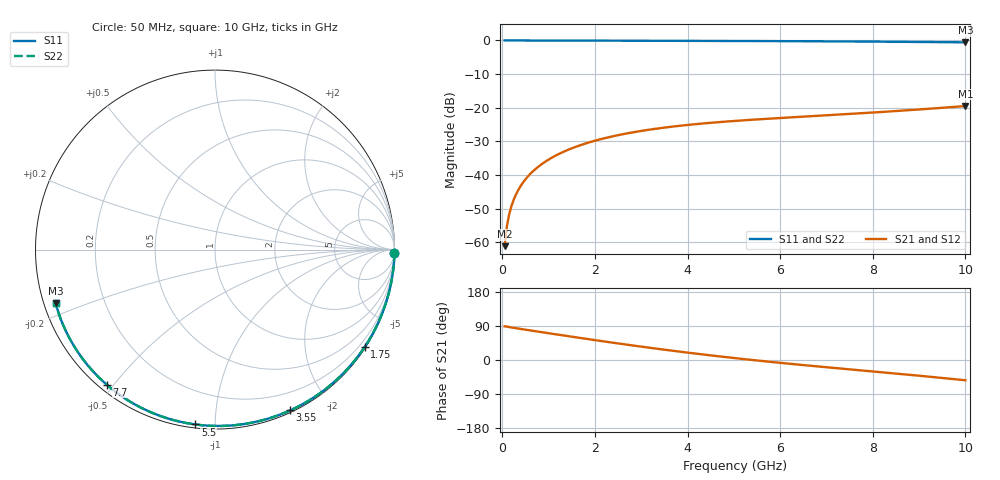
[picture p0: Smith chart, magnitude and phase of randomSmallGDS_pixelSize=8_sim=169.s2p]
! freq	dB(S11)	phase(S11)	dB(S12)	phase(S12)
!  dB(S21)	phase(S21)	dB(S22)	phase(S22)
!S-par simulation data
#  GHz  S  DB  R 50
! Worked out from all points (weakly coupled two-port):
!   200 points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, 50 MHz to 10 GHz, reference 50 ohm
!   highest |S21| = -19.52 dB at 10 GHz (marker M1); lowest = -61.2 dB at 50 MHz (marker M2)
!   lowest |S11| = -0.6 dB at 10 GHz (marker M3), VSWR 30.68, Z = 1.67 - j8.17 ohm
!   |S11| at or under -10 dB: nowhere
!   |S22| runs from -0.6 to 0.0 dB; largest |S21 - S12| = 0
!   S11 on the Smith chart (normalised r, x): 50 MHz: open; 1.75 GHz: 0.03, -3.37; 3.55 GHz: 0.02, -1.57; 5.5 GHz: 0.02, -0.89; 7.7 GHz: 0.02, -0.48; 10 GHz: 0.03, -0.16
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0.05  -0.00 -1.0  -61.20 88.9  -61.20 88.9  -0.00 -1.0
0.1  -0.00 -1.9  -55.18 87.9  -55.18 87.9  -0.00 -1.9
0.15  -0.00 -2.9  -51.67 86.9  -51.67 86.9  -0.00 -2.9
0.2  -0.00 -3.9  -49.18 85.8  -49.18 85.8  -0.00 -3.9
0.25  -0.00 -4.8  -47.26 84.8  -47.26 84.8  -0.00 -4.8
0.35  -0.01 -6.7  -44.36 82.9  -44.36 82.9  -0.01 -6.7
0.5  -0.01 -9.6  -41.31 80.0  -41.31 80.0  -0.01 -9.6
0.7  -0.02 -13.4  -38.44 76.2  -38.44 76.2  -0.02 -13.4
1  -0.02 -19.1  -35.43 70.7  -35.43 70.7  -0.02 -19.1
1.35  -0.03 -25.6  -32.95 64.2  -32.95 64.2  -0.03 -25.6
1.75  -0.05 -33.0  -30.87 56.9  -30.87 56.9  -0.05 -33.0
2.6  -0.07 -48.4  -27.89 42.0  -27.89 42.0  -0.07 -48.4
3.4  -0.09 -62.4  -26.10 28.8  -26.10 28.8  -0.09 -62.4
3.55  -0.10 -64.9  -25.84 26.4  -25.84 26.4  -0.10 -64.9
4.3  -0.12 -77.4  -24.74 15.1  -24.74 15.1  -0.12 -77.4
5.05  -0.15 -89.4  -23.91 4.6  -23.91 4.6  -0.15 -89.4
5.5  -0.17 -96.4  -23.49 -1.3  -23.49 -1.3  -0.17 -96.4
6.7  -0.24 -114.3  -22.52 -15.7  -22.52 -15.7  -0.24 -114.3
7.7  -0.31 -128.7  -21.71 -26.9  -21.71 -26.9  -0.31 -128.7
8.35  -0.37 -137.9  -21.14 -34.1  -21.14 -34.1  -0.37 -137.9
9.2  -0.46 -150.0  -20.33 -43.8  -20.33 -43.8  -0.46 -150.0
10  -0.57 -161.4  -19.52 -53.5  -19.52 -53.5  -0.57 -161.4
